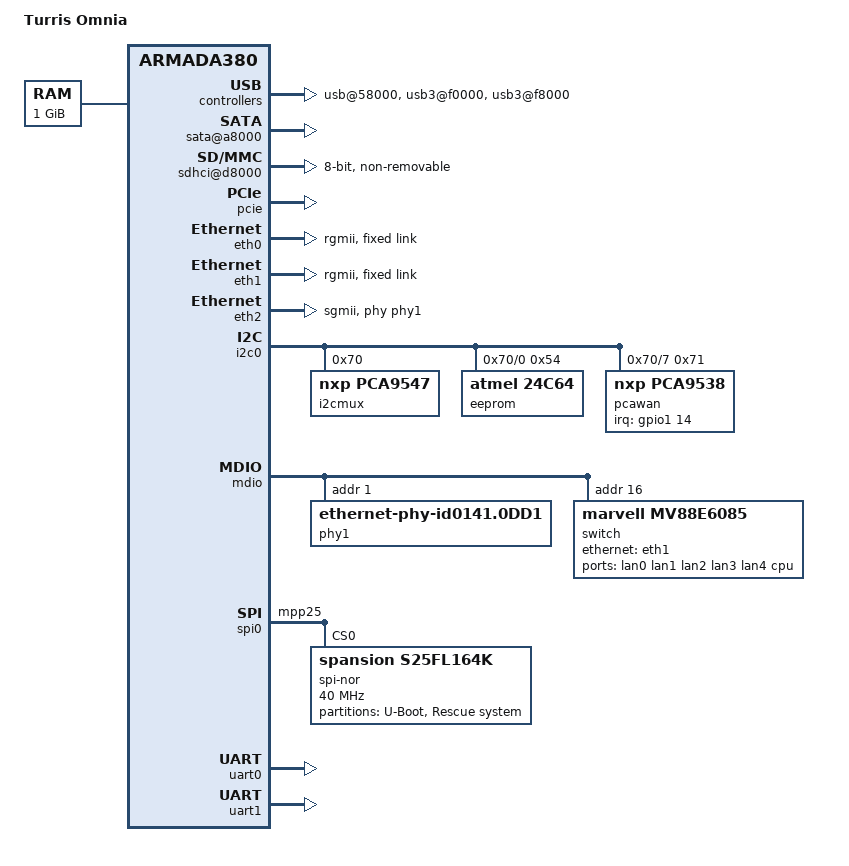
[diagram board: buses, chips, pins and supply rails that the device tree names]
/*
 * Device Tree file for the Turris Omnia
 *
 * Copyright (C) 2016 Uwe Kleine-König <uwe@kleine-koenig.org>
 * Copyright (C) 2016 Tomas Hlavacek <tmshlvkc@gmail.com>
 *
 * This file is dual-licensed: you can use it either under the terms
 * of the GPL or the X11 license, at your option. Note that this dual
 * licensing only applies to this file, and not this project as a
 * whole.
 *
 *  a) This file is licensed under the terms of the GNU General Public
 *     License version 2.  This program is licensed "as is" without
 *     any warranty of any kind, whether express or implied.
 *
 * Or, alternatively,
 *
 *  b) Permission is hereby granted, free of charge, to any person
 *     obtaining a copy of this software and associated documentation
 *     files (the "Software"), to deal in the Software without
 *     restriction, including without limitation the rights to use,
 *     copy, modify, merge, publish, distribute, sublicense, and/or
 *     sell copies of the Software, and to permit persons to whom the
 *     Software is furnished to do so, subject to the following
 *     conditions:
 *
 *     The above copyright notice and this permission notice shall be
 *     included in all copies or substantial portions of the Software.
 *
 *     THE SOFTWARE IS PROVIDED "AS IS", WITHOUT WARRANTY OF ANY KIND,
 *     EXPRESS OR IMPLIED, INCLUDING BUT NOT LIMITED TO THE WARRANTIES
 *     OF MERCHANTABILITY, FITNESS FOR A PARTICULAR PURPOSE AND
 *     NONINFRINGEMENT. IN NO EVENT SHALL THE AUTHORS OR COPYRIGHT
 *     HOLDERS BE LIABLE FOR ANY CLAIM, DAMAGES OR OTHER LIABILITY,
 *     WHETHER IN AN ACTION OF CONTRACT, TORT OR OTHERWISE, ARISING
 *     FROM, OUT OF OR IN CONNECTION WITH THE SOFTWARE OR THE USE OR
 *     OTHER DEALINGS IN THE SOFTWARE.
 */

/*
 * Schematic available at https://www.turris.cz/doc/_media/rtrom01-schema.pdf
 */

/dts-v1/;

#include <dt-bindings/gpio/gpio.h>
#include <dt-bindings/input/input.h>
#include "armada-385.dtsi"

/ {
	model = "Turris Omnia";
	compatible = "cznic,turris-omnia", "marvell,armada385", "marvell,armada380";

	chosen {
		stdout-path = &uart0;
	};

	memory {
		device_type = "memory";
		reg = <0x00000000 0x40000000>; /* 1024 MB */
	};

	soc {
		ranges = <MBUS_ID(0xf0, 0x01) 0 0xf1000000 0x100000
			  MBUS_ID(0x01, 0x1d) 0 0xfff00000 0x100000
			  MBUS_ID(0x09, 0x19) 0 0xf1100000 0x10000
			  MBUS_ID(0x09, 0x15) 0 0xf1110000 0x10000>;

		internal-regs {

			/* USB part of the PCIe2/USB 2.0 port */
			usb@58000 {
				status = "okay";
			};

			sata@a8000 {
				status = "okay";
			};

			sdhci@d8000 {
				pinctrl-names = "default";
				pinctrl-0 = <&sdhci_pins>;
				status = "okay";

				bus-width = <8>;
				no-1-8-v;
				non-removable;
			};

			usb3@f0000 {
				status = "okay";
			};

			usb3@f8000 {
				status = "okay";
			};
		};

		pcie {
			status = "okay";

			pcie@1,0 {
				/* Port 0, Lane 0 */
				status = "okay";
			};

			pcie@2,0 {
				/* Port 1, Lane 0 */
				status = "okay";
			};

			pcie@3,0 {
				/* Port 2, Lane 0 */
				status = "okay";
			};
		};
	};
};

/* Connected to 88E6176 switch, port 6 */
&eth0 {
	pinctrl-names = "default";
	pinctrl-0 = <&ge0_rgmii_pins>;
	status = "okay";
	phy-mode = "rgmii";

	fixed-link {
		speed = <1000>;
		full-duplex;
	};
};

/* Connected to 88E6176 switch, port 5 */
&eth1 {
	pinctrl-names = "default";
	pinctrl-0 = <&ge1_rgmii_pins>;
	status = "okay";
	phy-mode = "rgmii";

	fixed-link {
		speed = <1000>;
		full-duplex;
	};
};

/* WAN port */
&eth2 {
	status = "okay";
	phy-mode = "sgmii";
	phy = <&phy1>;
};

&i2c0 {
	pinctrl-names = "default";
	pinctrl-0 = <&i2c0_pins>;
	status = "okay";

	i2cmux@70 {
		compatible = "nxp,pca9547";
		#address-cells = <1>;
		#size-cells = <0>;
		reg = <0x70>;
		status = "okay";

		i2c@0 {
			#address-cells = <1>;
			#size-cells = <0>;
			reg = <0>;

			/* STM32F0 command interface at address 0x2a */
			/* leds device (in STM32F0) at address 0x2b */

			eeprom@54 {
				compatible = "atmel,24c64";
				reg = <0x54>;

				/* The EEPROM contains data for bootloader.
				 * Contents:
				 * 	struct omnia_eeprom {
				 * 		u32 magic; (=0x0341a034 in LE)
				 *		u32 ramsize; (in GiB)
				 * 		char regdomain[4];
				 * 		u32 crc32;
				 * 	};
				 */
			};
		};

		i2c@1 {
			#address-cells = <1>;
			#size-cells = <0>;
			reg = <1>;

			/* routed to PCIe0/mSATA connector (CN7A) */
		};

		i2c@2 {
			#address-cells = <1>;
			#size-cells = <0>;
			reg = <2>;

			/* routed to PCIe1/USB2 connector (CN61A) */
		};

		i2c@3 {
			#address-cells = <1>;
			#size-cells = <0>;
			reg = <3>;

			/* routed to PCIe2 connector (CN62A) */
		};

		i2c@4 {
			#address-cells = <1>;
			#size-cells = <0>;
			reg = <4>;

			/* routed to SFP+ */
		};

		i2c@5 {
			#address-cells = <1>;
			#size-cells = <0>;
			reg = <5>;

			/* ATSHA204A at address 0x64 */
		};

		i2c@6 {
			#address-cells = <1>;
			#size-cells = <0>;
			reg = <6>;

			/* exposed on pin header */
		};

		i2c@7 {
			#address-cells = <1>;
			#size-cells = <0>;
			reg = <7>;

			pcawan: gpio@71 {
				/*
				 * GPIO expander for SFP+ signals and
				 * and phy irq
				 */
				compatible = "nxp,pca9538";
				reg = <0x71>;

				pinctrl-names = "default";
				pinctrl-0 = <&pcawan_pins>;

				interrupt-parent = <&gpio1>;
				interrupts = <14 IRQ_TYPE_LEVEL_LOW>;

				gpio-controller;
				#gpio-cells = <2>;
			};
		};
	};
};

&mdio {
	pinctrl-names = "default";
	pinctrl-0 = <&mdio_pins>;
	status = "okay";

	phy1: phy@1 {
		status = "okay";
		compatible = "ethernet-phy-id0141.0DD1", "ethernet-phy-ieee802.3-c22";
		reg = <1>;

		/* irq is connected to &pcawan pin 7 */
	};

	/* Switch MV88E6176 at address 0x10 */
	switch@10 {
		compatible = "marvell,mv88e6085";
		#address-cells = <1>;
		#size-cells = <0>;
		dsa,member = <0 0>;

		reg = <0x10>;

		ports {
			#address-cells = <1>;
			#size-cells = <0>;

			ports@0 {
				reg = <0>;
				label = "lan0";
			};

			ports@1 {
				reg = <1>;
				label = "lan1";
			};

			ports@2 {
				reg = <2>;
				label = "lan2";
			};

			ports@3 {
				reg = <3>;
				label = "lan3";
			};

			ports@4 {
				reg = <4>;
				label = "lan4";
			};

			ports@5 {
				reg = <5>;
				label = "cpu";
				ethernet = <&eth1>;
				phy-mode = "rgmii-id";

				fixed-link {
					speed = <1000>;
					full-duplex;
				};
			};

			/* port 6 is connected to eth0 */
		};
	};
};

&pinctrl {
	pcawan_pins: pcawan-pins {
		marvell,pins = "mpp46";
		marvell,function = "gpio";
	};

	spi0cs0_pins: spi0cs0-pins {
		marvell,pins = "mpp25";
		marvell,function = "spi0";
	};

	spi0cs1_pins: spi0cs1-pins {
		marvell,pins = "mpp26";
		marvell,function = "spi0";
	};
};

&spi0 {
	pinctrl-names = "default";
	pinctrl-0 = <&spi0_pins &spi0cs0_pins>;
	status = "okay";

	spi-nor@0 {
		compatible = "spansion,s25fl164k", "jedec,spi-nor";
		#address-cells = <1>;
		#size-cells = <1>;
		reg = <0>;
		spi-max-frequency = <40000000>;

		partitions {
			compatible = "fixed-partitions";
			#address-cells = <1>;
			#size-cells = <1>;

			partition@0 {
				reg = <0x0 0x00100000>;
				label = "U-Boot";
			};

			partition@100000 {
				reg = <0x00100000 0x00700000>;
				label = "Rescue system";
			};
		};
	};

	/* MISO, MOSI, SCLK and CS1 are routed to pin header CN11 */
};

&uart0 {
	/* Pin header CN10 */
	pinctrl-names = "default";
	pinctrl-0 = <&uart0_pins>;
	status = "okay";
};

&uart1 {
	/* Pin header CN11 */
	pinctrl-names = "default";
	pinctrl-0 = <&uart1_pins>;
	status = "okay";
};
